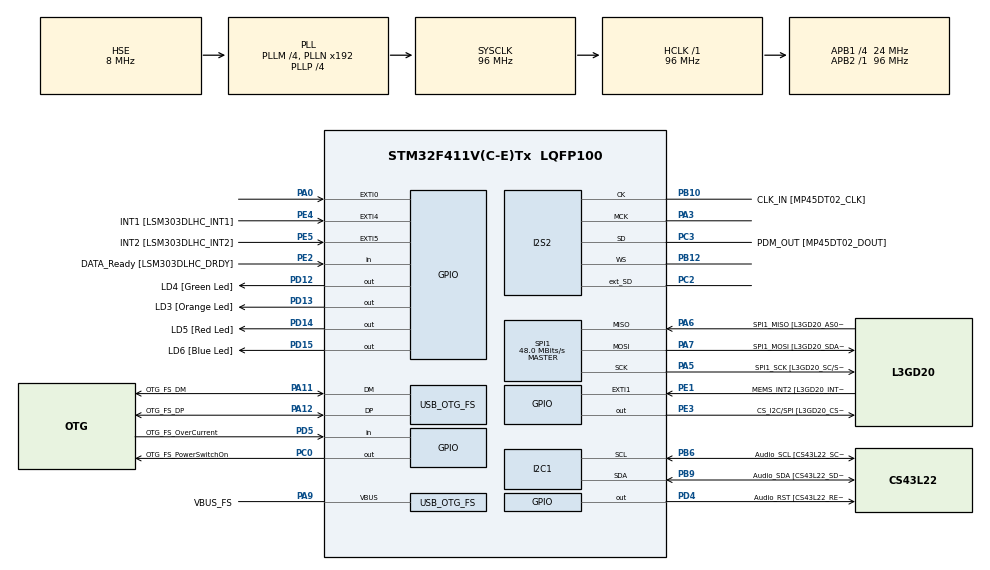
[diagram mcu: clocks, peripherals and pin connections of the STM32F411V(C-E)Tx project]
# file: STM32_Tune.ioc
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Dma.Request0=SPI2_RX
Dma.SPI2_RX.0.Direction=DMA_PERIPH_TO_MEMORY
Dma.SPI2_RX.0.FIFOMode=DMA_FIFOMODE_DISABLE
Dma.SPI2_RX.0.Instance=DMA1_Stream3
Dma.SPI2_RX.0.MemDataAlignment=DMA_MDATAALIGN_HALFWORD
Dma.SPI2_RX.0.MemInc=DMA_MINC_ENABLE
Dma.SPI2_RX.0.Mode=DMA_CIRCULAR
Dma.SPI2_RX.0.PeriphDataAlignment=DMA_PDATAALIGN_HALFWORD
Dma.SPI2_RX.0.PeriphInc=DMA_PINC_DISABLE
Dma.SPI2_RX.0.Priority=DMA_PRIORITY_LOW
I2S2.AudioFreq=I2S_AUDIOFREQ_48K
I2S2.DataFormat=I2S_DATAFORMAT_24B
I2S2.ErrorAudioFreq=0.15 %
I2S2.FullDuplexMode=I2S_FULLDUPLEXMODE_ENABLE
I2S2.Instance=SPI$Index
I2S2.Mode=I2S_MODE_MASTER_RX
I2S2.RealAudioFreq=48.076 KHz
I2S2.Standard=I2S_STANDARD_MSB
I2S2.VirtualMode=I2S_MODE_MASTER
Mcu.Family=STM32F4
Mcu.Name=STM32F411V(C-E)Tx
Mcu.Package=LQFP100
NVIC.DMA1_Stream3_IRQn=true\:0\:0\:false\:false\:true\:false\:true
NVIC.OTG_FS_IRQn=true\:0\:0\:false\:false\:true\:true\:true
NVIC.PriorityGroup=NVIC_PRIORITYGROUP_0
PA0-WKUP.GPIO_ModeDefaultEXTI=GPIO_MODE_EVT_RISING
PA0-WKUP.Signal=GPXTI0
PA10.GPIO_Label=OTG_FS_ID
PA10.Signal=USB_OTG_FS_ID
PA11.GPIO_Label=OTG_FS_DM
PA11.Mode=Device_Only
PA11.Signal=USB_OTG_FS_DM
PA12.GPIO_Label=OTG_FS_DP
PA12.Mode=Device_Only
PA12.Signal=USB_OTG_FS_DP
PA13.GPIO_Label=SWDIO
PA13.Mode=Serial_Wire
PA13.Signal=SYS_JTMS-SWDIO
PA14.GPIO_Label=SWCLK
PA14.Mode=Serial_Wire
PA14.Signal=SYS_JTCK-SWCLK
PA3.Mode=Master_Clock_Activated
PA3.Signal=I2S2_MCK
PA4.GPIO_Label=I2S3_WS [CS43L22_LRCK]
PA4.GPIO_Mode=GPIO_MODE_AF_PP
PA4.GPIO_PuPd=GPIO_NOPULL
PA4.GPIO_Speed=GPIO_SPEED_FREQ_LOW
PA4.Signal=I2S3_WS
PA5.GPIO_Label=SPI1_SCK [L3GD20_SC/SPC]
PA5.Mode=Full_Duplex_Master
PA5.Signal=SPI1_SCK
PA6.GPIO_Label=SPI1_MISO [L3GD20_AS0/SDO]
PA6.Mode=Full_Duplex_Master
PA6.Signal=SPI1_MISO
PA7.GPIO_Label=SPI1_MOSI [L3GD20_SDA/SDI/SDO]
PA7.Mode=Full_Duplex_Master
PA7.Signal=SPI1_MOSI
PA9.GPIO_Label=VBUS_FS
PA9.Mode=Activate_VBUS
PA9.Signal=USB_OTG_FS_VBUS
PB10.GPIO_Label=CLK_IN [MP45DT02_CLK]
PB10.Mode=Full_Duplex_Master
PB10.Signal=I2S2_CK
PB12.Mode=Full_Duplex_Master
PB12.Signal=I2S2_WS
PB3.GPIO_Label=SWO
PB3.Signal=SYS_JTDO-SWO
PB6.GPIO_Label=Audio_SCL [CS43L22_SCL]
PB6.GPIO_Mode=GPIO_MODE_AF_OD
PB6.GPIO_PuPd=GPIO_NOPULL
PB6.GPIO_Speed=GPIO_SPEED_FREQ_LOW
PB6.Mode=I2C
PB6.Signal=I2C1_SCL
PB9.GPIO_Label=Audio_SDA [CS43L22_SDA]
PB9.GPIO_Mode=GPIO_MODE_AF_OD
PB9.GPIO_PuPd=GPIO_NOPULL
PB9.GPIO_Speed=GPIO_SPEED_FREQ_LOW
PB9.Mode=I2C
PB9.Signal=I2C1_SDA
PC0.GPIO_Label=OTG_FS_PowerSwitchOn
PC0.PinState=GPIO_PIN_SET
PC0.Signal=GPIO_Output
PC10.GPIO_Label=I2S3_SCK [CS43L22_SCLK]
PC10.GPIO_Mode=GPIO_MODE_AF_PP
PC10.GPIO_PuPd=GPIO_NOPULL
PC10.GPIO_Speed=GPIO_SPEED_FREQ_LOW
PC10.Signal=I2S3_CK
PC12.GPIO_Label=I2S3_SD [CS43L22_SDIN]
PC12.GPIO_Mode=GPIO_MODE_AF_PP
PC12.GPIO_PuPd=GPIO_NOPULL
PC12.GPIO_Speed=GPIO_SPEED_FREQ_LOW
PC12.Signal=I2S3_SD
PC14-OSC32_IN.GPIO_Label=PC14-OSC32_IN
PC14-OSC32_IN.Mode=LSE-External-Oscillator
PC14-OSC32_IN.Signal=RCC_OSC32_IN
PC15-OSC32_OUT.GPIO_Label=PC15-OSC32_OUT
PC15-OSC32_OUT.Mode=LSE-External-Oscillator
PC15-OSC32_OUT.Signal=RCC_OSC32_OUT
PC2.Mode=Full_Duplex_Master
PC2.Signal=I2S2_ext_SD
PC3.GPIO_Label=PDM_OUT [MP45DT02_DOUT]
PC3.Mode=Full_Duplex_Master
PC3.Signal=I2S2_SD
PC7.GPIO_Label=I2S3_MCK [CS43L22_MCLK]
PC7.GPIO_Mode=GPIO_MODE_AF_PP
PC7.GPIO_PuPd=GPIO_NOPULL
PC7.GPIO_Speed=GPIO_SPEED_FREQ_LOW
PC7.Signal=I2S3_MCK
PD12.GPIO_Label=LD4 [Green Led]
PD12.GPIO_PuPd=GPIO_NOPULL
PD12.GPIO_Speed=GPIO_SPEED_FREQ_LOW
PD12.Signal=GPIO_Output
PD13.GPIO_Label=LD3 [Orange Led]
PD13.GPIO_PuPd=GPIO_NOPULL
PD13.GPIO_Speed=GPIO_SPEED_FREQ_LOW
PD13.Signal=GPIO_Output
PD14.GPIO_Label=LD5 [Red Led]
PD14.GPIO_PuPd=GPIO_NOPULL
PD14.GPIO_Speed=GPIO_SPEED_FREQ_LOW
PD14.Signal=GPIO_Output
PD15.GPIO_Label=LD6 [Blue Led]
PD15.GPIO_PuPd=GPIO_NOPULL
PD15.GPIO_Speed=GPIO_SPEED_FREQ_LOW
PD15.Signal=GPIO_Output
PD4.GPIO_Label=Audio_RST [CS43L22_RESET]
PD4.Signal=GPIO_Output
PD5.GPIO_Label=OTG_FS_OverCurrent
PD5.Signal=GPIO_Input
PDM2PCM.CHANNEL1_bit_order=PDM_FILTER_BIT_ORDER_MSB
PDM2PCM.CHANNEL1_in_ptr_channels=1
PDM2PCM.CHANNEL1_out_ptr_channels=1
PE1.GPIO_Label=MEMS_INT2 [L3GD20_INT2]
PE1.GPIO_ModeDefaultEXTI=GPIO_MODE_EVT_RISING
PE1.Signal=GPXTI1
PE2.GPIO_Label=DATA_Ready [LSM303DLHC_DRDY]
PE2.Signal=GPIO_Input
PE3.GPIO_Label=CS_I2C/SPI [L3GD20_CS_I2C/SPI]
PE3.Signal=GPIO_Output
PE4.GPIO_Label=INT1 [LSM303DLHC_INT1]
PE4.GPIO_ModeDefaultEXTI=GPIO_MODE_EVT_RISING
PE4.Signal=GPXTI4
PE5.GPIO_Label=INT2 [LSM303DLHC_INT2]
PE5.GPIO_ModeDefaultEXTI=GPIO_MODE_EVT_RISING
PE5.Signal=GPXTI5
PH0\ -\ OSC_IN.GPIO_Label=PH0-OSC_IN
PH0\ -\ OSC_IN.Mode=HSE-External-Oscillator
PH0\ -\ OSC_IN.Signal=RCC_OSC_IN
PH1\ -\ OSC_OUT.GPIO_Label=PH1-OSC_OUT
PH1\ -\ OSC_OUT.Mode=HSE-External-Oscillator
PH1\ -\ OSC_OUT.Signal=RCC_OSC_OUT
ProjectManager.HeapSize=0x200
ProjectManager.StackSize=0x400
ProjectManager.TargetToolchain=SW4STM32
RCC.48MHZClocksFreq_Value=48000000
RCC.AHBFreq_Value=96000000
RCC.APB1CLKDivider=RCC_HCLK_DIV4
RCC.APB1Freq_Value=24000000
RCC.APB1TimFreq_Value=48000000
RCC.APB2Freq_Value=96000000
RCC.APB2TimFreq_Value=96000000
RCC.CortexFreq_Value=96000000
RCC.HCLKFreq_Value=96000000
RCC.HSE_VALUE=8000000
RCC.HSI_VALUE=16000000
RCC.PLLI2SM=5
RCC.PLLI2SN=200
RCC.PLLM=4
RCC.PLLP=RCC_PLLP_DIV4
RCC.PLLQ=8
RCC.SYSCLKFreq_VALUE=96000000
RCC.SYSCLKSource=RCC_SYSCLKSOURCE_PLLCLK
RCC.VCOOutputFreq_Value=384000000
SPI1.BaudRatePrescaler=SPI_BAUDRATEPRESCALER_2
SPI1.CalculateBaudRate=48.0 MBits/s
SPI1.Direction=SPI_DIRECTION_2LINES
SPI1.Mode=SPI_MODE_MASTER
SPI1.VirtualType=VM_MASTER
USB_DEVICE.CLASS_NAME_FS=CDC
USB_DEVICE.VirtualMode=Cdc
USB_DEVICE.VirtualModeFS=Cdc_FS
USB_OTG_FS.VirtualMode=Device_Only
VP_CRC_VS_CRC.Mode=CRC_Activate
VP_PDM2PCM_VS_PDM2PCM.Mode=PDM2PCM_Channel
VP_USB_DEVICE_VS_USB_DEVICE_CDC_FS.Mode=CDC_FS
board=STM32F411E-DISCO

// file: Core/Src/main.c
/* USER CODE BEGIN Header */
/**
  ******************************************************************************
  * @file           : main.c
  * @brief          : Main program body
  ******************************************************************************
  * @attention
  *
  * <h2><center>&copy; Copyright (c) 2021 STMicroelectronics.
  * All rights reserved.</center></h2>
  *
  * This software component is licensed by ST under Ultimate Liberty license
  * SLA0044, the "License"; You may not use this file except in compliance with
  * the License. You may obtain a copy of the License at:
  *                             www.st.com/SLA0044
  *
  ******************************************************************************
  */
/* USER CODE END Header */
#include "main.h"
#include "crc.h"
#include "dma.h"
#include "i2c.h"
#include "i2s.h"
#include "pdm2pcm.h"
#include "spi.h"
#include "usb_device.h"
#include "gpio.h"

/* USER CODE BEGIN Includes */
#include "usbd_cdc_if.h"
#include <string.h>
#include "arm_math.h"
/* USER CODE END Includes */

/* USER CODE BEGIN PD */
#define PRINT(X)			CDC_Transmit_FS(X, strlen(X))
//#define ARM_MATH_CM4

const uint16_t FFT_SIZE = 1024;
/* USER CODE END PD */

/* USER CODE BEGIN PV */
CRC_HandleTypeDef hcrc;

I2S_HandleTypeDef hi2s2;
DMA_HandleTypeDef hdma_spi2_rx;
/* USER CODE END PV */

void SystemClock_Config(void);

/* USER CODE BEGIN 0 */

uint16_t pdmRxBuf[128];
uint16_t MidBuffer[16];
uint8_t rxstate = 0;

uint16_t pcm_buffer[2048];
float32_t pcm_fl_buffer[2048];
int pcm_index = 0;
char re_im[100];
float real_freq = 0.0;

float32_t fft_out_buf[2048];
int Fs = 48076;
int N = 1024;
int pcm_full = 0;

char str_res[100];

arm_rfft_fast_instance_f32 fft_handler;

int i;
//float String_Freq[] = {82.41, 110, 146.83, 196, 246.94, 329.63}; // From S1(thickest) to S6(thinnest)
float String_Freq[] = {34.0, 93.0, 140.0, 187.0, 234.0, 328.0};

void ReadSample() {
	  if(rxstate == 1) {
		  PDM_Filter(&pdmRxBuf[0], &MidBuffer[0], &PDM1_filter_handler); //MidBuffer is the pcm data

		  for(int i = 0; i < 16; i++) {
			  pcm_buffer[pcm_index] = MidBuffer[i];
			  pcm_fl_buffer[pcm_index] = (float32_t)pcm_buffer[pcm_index];
			  pcm_index++;
		  }
		  if(pcm_index == 2048) {
			  pcm_full = 1;
			  pcm_index = 0;
		  }
		  rxstate = 0;
	  }

	  if(rxstate == 2) {
		  PDM_Filter(&pdmRxBuf[64], &MidBuffer[0], &PDM1_filter_handler);
		  for(int i = 0; i < 16; i++) {
			  pcm_buffer[pcm_index] = MidBuffer[i];
			  pcm_fl_buffer[pcm_index] = (float32_t)pcm_buffer[pcm_index];
			  pcm_index++;
		  }
		  if(pcm_index == 2048) {
			  pcm_full = 1;
			  pcm_index = 0;
		  }
		  rxstate = 0;
	  }
}

float DoFFT_find_freq() {
	//Do FFT
	arm_rfft_fast_f32(&fft_handler, &pcm_fl_buffer, &fft_out_buf, 0);

	float freqs[1024];
	int freqpoint = 0;
	float max_magnitude = 0;
	int max_i = 0;

	//calculate abs values and linear-to-dB
	for (int i = 1; i < 1024; i++) {

		float32_t re = fft_out_buf[2*i];
		float32_t im = fft_out_buf[2*i+1];
		float magn = (float)sqrt(re*re+im*im);
		if (magn >= max_magnitude) {
			max_magnitude = magn;
			max_i = i;
		}

	}

	float frequency = max_i * Fs / N;
	if(frequency > 500.0) {
		frequency = 0.0;
	}
//	char str_res[100];
//	sprintf(str_res, "index = %i; max_magn = %f,  frequency = %f\n", max_i, max_magnitude, frequency);
//	PRINT(str_res);
	return frequency;
}

int getClosest(float val1, float val2, float freq, int index) {
	if (freq - val1 >= val2 - freq)
		return index+1;
	else
		return index;
}

char* concat(const char *s1, const char *s2)
{
    char *result = malloc(strlen(s1) + strlen(s2) + 1); // +1 for the \0
    strcpy(result, s1);
    strcat(result, s2);
    return result;
}

char* detectString(float freq) {
	int String = 0;
	if (freq > 0) real_freq = freq;
//	if (real_freq <= String_Freq[0]) String = 6;
//	if (real_freq >= String_Freq[5]) String = 1;

//	int m = 0, j = 6, mid = 0;
//	while (m < j) {
//		mid = (m+j)/2;
//		if (freq == String_Freq[mid]) {
//			String = mid + 1;
//		}
//
//		if (freq < String_Freq[mid]) {
//			if (mid > 0 && freq > String_Freq[mid-1]){
//				String = getClosest(String_Freq[mid-1], String_Freq[mid], freq, mid-1) + 1;
//			}
//			j = mid;
//		}
//
//		else {
//			if (mid < 5 && freq < String_Freq[mid+1]) {
//				String = getClosest(String_Freq[mid], String_Freq[mid+1], freq, mid) + 1;
//			}
//			m = mid + 1;
//		}
//	}
	float min_diff = 10000;
	int string_ind = 0;
	for(int i = 0; i < 6; i++) {
		float diff = abs(real_freq - String_Freq[i]);
		if(diff < min_diff) {
			min_diff = diff;
			string_ind = i;
		}
	}

//	char str_res[35];
//	float diff = freq - String_Freq[String - 1];
//	sprintf(str_res, "String %i, difference = %.2f", String, diff);
	float real_diff = real_freq - String_Freq[string_ind];

//	if (!String) String = String_Freq[mid];

//	if (diff < -10) { //too high, make lower
//		char feedback[] = "\tToo high, make lower\n";
//		return concat(str_res, feedback);
//	}
//	if (diff > 10) { //too low, make higher
//		char feedback[] = "\tToo low, make it higher\n";
//		return concat(str_res, feedback);
//	}
//	char feedback[] = "\tTuned!\n";
//	return concat(str_res, feedback);

	sprintf(str_res, "String = %i; real diff = %f, freq = %f\n", string_ind + 1, real_diff, real_freq);
	PRINT(str_res);
}

char *decimal_to_binary(int n)
{
    int c, d, t;
    char *p;

    t = 0;
    p = (char*)malloc(16+1);

    for (c = 15 ; c >= 0 ; c--)
    {
        d = n >> c;

        if (d & 1)
            *(p+t) = 1 + '0';
        else
            *(p+t) = 0 + '0';

        t++;
    }
    *(p+t) = '\0';

    return  p;
}
/* USER CODE END 0 */

int main(void)
{

  /* MCU Configuration--------------------------------------------------------*/

  /* Reset of all peripherals, Initializes the Flash interface and the Systick. */
  HAL_Init();

  /* Configure the system clock */
  SystemClock_Config();

  /* Initialize all configured peripherals */
  MX_GPIO_Init();
  MX_DMA_Init();
  MX_I2C1_Init();
  MX_I2S2_Init();
  MX_SPI1_Init();
  MX_CRC_Init();
  MX_PDM2PCM_Init();
  MX_USB_DEVICE_Init();
  /* USER CODE BEGIN 2 */

//  HAL_I2S_Transmit_DMA(&hi2s3, &txBuf[0], 64);
  HAL_I2S_Receive_DMA(&hi2s2, &pdmRxBuf[0], 64); //pdm receive

  arm_rfft_fast_init_f32(&fft_handler, FFT_SIZE);
  /* USER CODE END 2 */

  /* Infinite loop */
  /* USER CODE BEGIN WHILE */
  while (1)
  {
	  ReadSample();

	  if(pcm_full) {
//		  sprintf(str_res, "%i:%i:%i:%i:%i:%i:%i:%i:%i:%i:%i:%i:%i:%i:%i:%i\n",
//				  pcm_buffer[0], pcm_buffer[1], pcm_buffer[2], pcm_buffer[3],
//				  pcm_buffer[4], pcm_buffer[5], pcm_buffer[6], pcm_buffer[7],
//				  pcm_buffer[8], pcm_buffer[17], pcm_buffer[10], pcm_buffer[11],
//				  pcm_buffer[12], pcm_buffer[13], pcm_buffer[14], pcm_buffer[1023]);
//		  PRINT(str_res);

//		  sprintf(str_res, "%f:%f:%f:%f:%f:%f\n",
//				  pcm_fl_buffer[0], pcm_fl_buffer[1], pcm_fl_buffer[2],pcm_fl_buffer[14], pcm_fl_buffer[1023]);
//		  PRINT(str_res);

		  float freq = DoFFT_find_freq();
//		  PRINT(detectString(freq));
		  detectString(freq);
		  pcm_full = 0;
	  }
//	  HAL_Delay(200);

//	  for(int i = 0; i < 16; i++) {
//		  char *bin = decimal_to_binary(pcm_buffer[i]);
//		  PRINT(bin);
//		  PRINT("\n");
//	  }
//	  HAL_Delay(50);

//	  PRINT(detectString(84.15));

    /* USER CODE END WHILE */

  }
}

void SystemClock_Config(void)
{
  RCC_OscInitTypeDef RCC_OscInitStruct = {0};
  RCC_ClkInitTypeDef RCC_ClkInitStruct = {0};
  RCC_PeriphCLKInitTypeDef PeriphClkInitStruct = {0};

  /** Configure the main internal regulator output voltage
  */
  __HAL_RCC_PWR_CLK_ENABLE();
  __HAL_PWR_VOLTAGESCALING_CONFIG(PWR_REGULATOR_VOLTAGE_SCALE1);
  /** Initializes the RCC Oscillators according to the specified parameters
  * in the RCC_OscInitTypeDef structure.
  */
  RCC_OscInitStruct.OscillatorType = RCC_OSCILLATORTYPE_HSE;
  RCC_OscInitStruct.HSEState = RCC_HSE_ON;
  RCC_OscInitStruct.PLL.PLLState = RCC_PLL_ON;
  RCC_OscInitStruct.PLL.PLLSource = RCC_PLLSOURCE_HSE;
  RCC_OscInitStruct.PLL.PLLM = 4;
  RCC_OscInitStruct.PLL.PLLN = 192;
  RCC_OscInitStruct.PLL.PLLP = RCC_PLLP_DIV4;
  RCC_OscInitStruct.PLL.PLLQ = 8;
  if (HAL_RCC_OscConfig(&RCC_OscInitStruct) != HAL_OK)
  {
    Error_Handler();
  }
  /** Initializes the CPU, AHB and APB buses clocks
  */
  RCC_ClkInitStruct.ClockType = RCC_CLOCKTYPE_HCLK|RCC_CLOCKTYPE_SYSCLK
                              |RCC_CLOCKTYPE_PCLK1|RCC_CLOCKTYPE_PCLK2;
  RCC_ClkInitStruct.SYSCLKSource = RCC_SYSCLKSOURCE_PLLCLK;
  RCC_ClkInitStruct.AHBCLKDivider = RCC_SYSCLK_DIV1;
  RCC_ClkInitStruct.APB1CLKDivider = RCC_HCLK_DIV4;
  RCC_ClkInitStruct.APB2CLKDivider = RCC_HCLK_DIV1;

  if (HAL_RCC_ClockConfig(&RCC_ClkInitStruct, FLASH_LATENCY_3) != HAL_OK)
  {
    Error_Handler();
  }
  PeriphClkInitStruct.PeriphClockSelection = RCC_PERIPHCLK_I2S;
  PeriphClkInitStruct.PLLI2S.PLLI2SN = 200;
  PeriphClkInitStruct.PLLI2S.PLLI2SM = 5;
  PeriphClkInitStruct.PLLI2S.PLLI2SR = 2;
  if (HAL_RCCEx_PeriphCLKConfig(&PeriphClkInitStruct) != HAL_OK)
  {
    Error_Handler();
  }
}

void HAL_I2S_RxHalfCpltCallback (I2S_HandleTypeDef *hi2s) {
	rxstate = 1;
}

void HAL_I2S_RxCpltCallback (I2S_HandleTypeDef *hi2s) {
	rxstate = 2;
}
/* USER CODE END 4 */

void Error_Handler(void)
{
}

/************************ (C) COPYRIGHT STMicroelectronics *****END OF FILE****/
